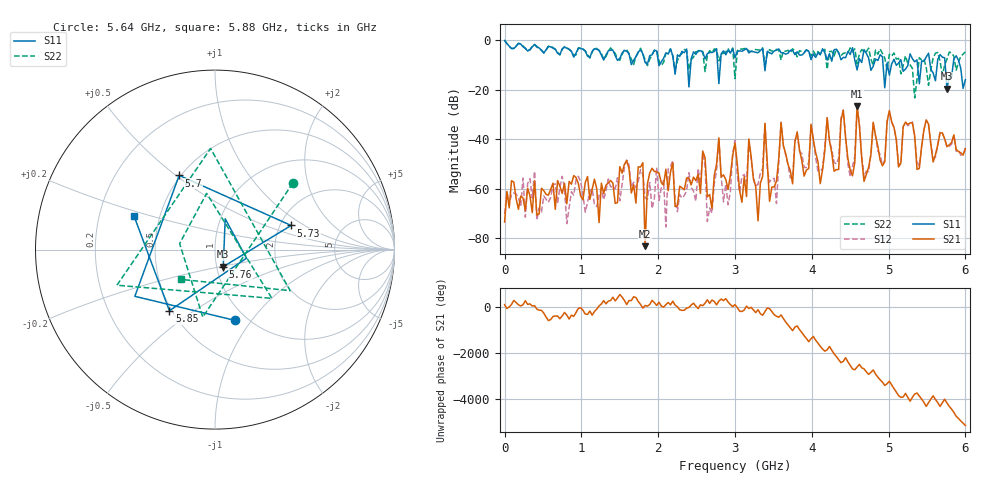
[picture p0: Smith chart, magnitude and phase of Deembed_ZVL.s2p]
#  HZ  S  DB  R  50.0
! Rohde & Schwarz ZVL13 2Ports - Version 3.20 - 1303.6509k13 SN: 100953
! Date: 2024-10-09 08:10:42
! Data & Calibration Information:
! Trc1:S11(Cal Off) Trc4:S21(Cal Off) Trc2:S12(Cal Off) Trc3:S22(Cal Off)
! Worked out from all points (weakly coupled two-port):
!   201 points, 9 kHz to 6 GHz, reference 50 ohm
!   highest |S21| = -26.62 dB at 4.59 GHz (marker M1); lowest = -83.2 dB at 1.83 GHz (marker M2)
!   lowest |S11| = -19.5 dB at 5.76 GHz (marker M3), VSWR 1.24, Z = 53.8 - j10.4 ohm
!   |S11| at or under -10 dB: 5.174 GHz to 5.251 GHz (77.09 MHz wide, 1.48 % of centre); 5.542 GHz to 5.632 GHz (89.74 MHz wide, 1.61 % of centre); 5.737 GHz to 5.84 GHz (102.4 MHz wide, 1.77 % of centre) (the widest 3 of 15)
!   |S22| runs from -23.2 to 0.0 dB; largest |S21 - S12| = 0.0032
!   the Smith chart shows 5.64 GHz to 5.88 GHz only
!   S11 on the Smith chart (normalised r, x): 5.64 GHz: 0.88, -0.84; 5.7 GHz: 0.49, +0.51; 5.73 GHz: 2.29, +0.77; 5.76 GHz: 1.08, -0.21; 5.85 GHz: 0.49, -0.40; 5.88 GHz: 0.35, +0.18
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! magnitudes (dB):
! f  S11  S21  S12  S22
! 9 kHz  0.0  -73.4  -70.1  0.0
! 1.02 GHz  -3.5  -64.5  -62.5  -3.5
! 1.8 GHz  -5.4  -49.4  -54.2  -5.3
! 1.83 GHz  -8.9  -83.2  -63.8  -7.9
! 2.01 GHz  -10.2  -53.6  -64.7  -8.2
! 3 GHz  -7.0  -41.5  -40.3  -15.4
! 3.3 GHz  -5.0  -72.9  -58.2  -3.8
! 3.39 GHz  -12.3  -33.6  -33.3  -9.8
! 3.54 GHz  -4.0  -56.9  -65.9  -3.6
! 3.6 GHz  -5.0  -33.3  -33.0  -7.9
! 4.02 GHz  -5.5  -40.2  -39.8  -4.3
! 4.5 GHz  -5.7  -52.3  -55.1  -3.1
! 4.59 GHz  -11.9  -26.6  -26.3  -9.5
! 4.68 GHz  -3.7  -57.0  -55.3  -4.5
! 5.01 GHz  -14.0  -28.4  -28.8  -5.6
! 5.64 GHz  -7.7  -42.3  -42.0  -4.9
! 5.7 GHz  -6.8  -37.4  -37.3  -14.0
! 5.73 GHz  -7.0  -39.8  -39.8  -10.0
! 5.76 GHz  -19.5  -43.0  -42.7  -7.6
! 5.85 GHz  -7.4  -38.2  -38.3  -6.4
! 5.88 GHz  -6.2  -44.1  -44.8  -12.0
! 6 GHz  -15.9  -43.8  -43.6  -4.6
